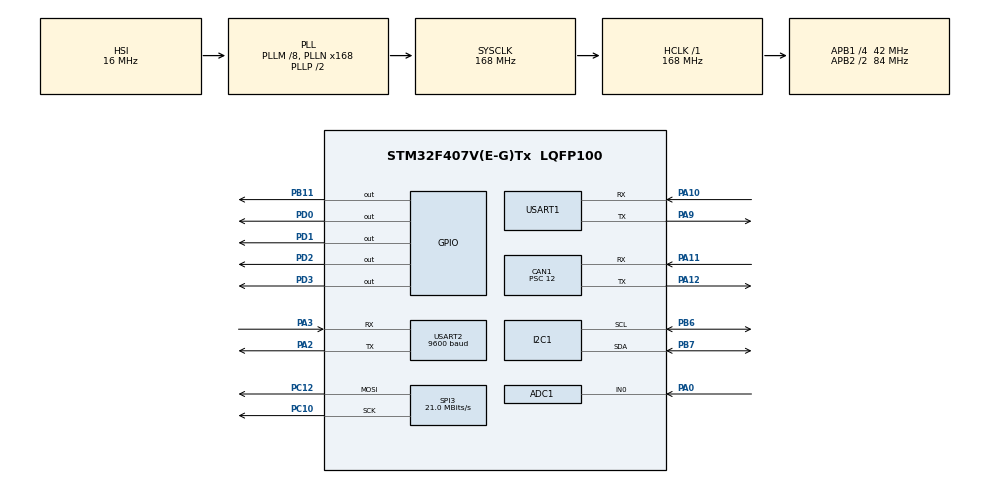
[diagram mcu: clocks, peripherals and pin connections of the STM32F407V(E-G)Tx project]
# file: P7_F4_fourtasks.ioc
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ADC1.Channel-0\#ChannelRegularConversion=ADC_CHANNEL_0
ADC1.NbrOfConversionFlag=1
ADC1.Rank-0\#ChannelRegularConversion=1
ADC1.SamplingTime-0\#ChannelRegularConversion=ADC_SAMPLETIME_3CYCLES
ADC1.master=1
CAN1.BS1=CAN_BS1_6TQ
CAN1.BS2=CAN_BS2_2TQ
CAN1.CalculateBaudRate=388888
CAN1.CalculateTimeBit=2571
CAN1.CalculateTimeQuantum=285.7142857142857
CAN1.Mode=CAN_MODE_NORMAL
CAN1.NART=ENABLE
CAN1.Prescaler=12
FREERTOS.Queues01=sensorqueue,5,sensordata_t*,0,Dynamic,NULL,NULL;displayqueue,5,sensordata_t*,0,Dynamic,NULL,NULL;commuqueue,5,sensordata_t*,0,Dynamic,NULL,NULL
FREERTOS.Tasks01=sensortask,40,256,startsensortask,As weak,NULL,Dynamic,NULL,NULL;filtertask,24,256,startfiltertask,As external,NULL,Dynamic,NULL,NULL;displaytask,8,2048,startdisplaytask,As external,NULL,Dynamic,NULL,NULL;commutask,16,256,startcommutask,As external,NULL,Dynamic,NULL,NULL
Mcu.Family=STM32F4
Mcu.Name=STM32F407V(E-G)Tx
Mcu.Package=LQFP100
NVIC.CAN1_RX0_IRQn=true\:5\:0\:false\:false\:true\:true\:true\:true\:true
NVIC.PriorityGroup=NVIC_PRIORITYGROUP_4
NVIC.TIM7_IRQn=true\:15\:0\:false\:false\:true\:false\:false\:true\:true
NVIC.TimeBase=TIM7_IRQn
NVIC.TimeBaseIP=TIM7
NVIC.USART2_IRQn=true\:5\:0\:false\:false\:true\:true\:true\:true\:true
PA0-WKUP.Signal=ADCx_IN0
PA10.Mode=Asynchronous
PA10.Signal=USART1_RX
PA11.Mode=CAN_Activate
PA11.Signal=CAN1_RX
PA12.Mode=CAN_Activate
PA12.Signal=CAN1_TX
PA13.Mode=Serial_Wire
PA13.Signal=SYS_JTMS-SWDIO
PA14.Mode=Serial_Wire
PA14.Signal=SYS_JTCK-SWCLK
PA2.Mode=Asynchronous
PA2.Signal=USART2_TX
PA3.Mode=Asynchronous
PA3.Signal=USART2_RX
PA9.Mode=Asynchronous
PA9.Signal=USART1_TX
PB11.Signal=GPIO_Output
PB6.Mode=I2C
PB6.Signal=I2C1_SCL
PB7.Mode=I2C
PB7.Signal=I2C1_SDA
PC10.Mode=TX_Only_Simplex_Unidirect_Master
PC10.Signal=SPI3_SCK
PC12.Mode=TX_Only_Simplex_Unidirect_Master
PC12.Signal=SPI3_MOSI
PD0.Signal=GPIO_Output
PD1.Signal=GPIO_Output
PD2.Signal=GPIO_Output
PD3.Signal=GPIO_Output
PH0-OSC_IN.Mode=HSE-External-Oscillator
PH0-OSC_IN.Signal=RCC_OSC_IN
PH1-OSC_OUT.Mode=HSE-External-Oscillator
PH1-OSC_OUT.Signal=RCC_OSC_OUT
ProjectManager.HeapSize=0x200
ProjectManager.StackSize=0x400
ProjectManager.TargetToolchain=CMake
RCC.48MHZClocksFreq_Value=84000000
RCC.AHBFreq_Value=168000000
RCC.APB1CLKDivider=RCC_HCLK_DIV4
RCC.APB1Freq_Value=42000000
RCC.APB1TimFreq_Value=84000000
RCC.APB2CLKDivider=RCC_HCLK_DIV2
RCC.APB2Freq_Value=84000000
RCC.APB2TimFreq_Value=168000000
RCC.CortexFreq_Value=168000000
RCC.HCLKFreq_Value=168000000
RCC.HSE_VALUE=25000000
RCC.HSI_VALUE=16000000
RCC.LSE_VALUE=32768
RCC.PLLM=8
RCC.PLLN=168
RCC.SYSCLKFreq_VALUE=168000000
RCC.SYSCLKSource=RCC_SYSCLKSOURCE_PLLCLK
RCC.VCOOutputFreq_Value=336000000
SH.ADCx_IN0.0=ADC1_IN0,IN0
SPI3.BaudRatePrescaler=SPI_BAUDRATEPRESCALER_2
SPI3.CLKPolarity=SPI_POLARITY_HIGH
SPI3.CalculateBaudRate=21.0 MBits/s
SPI3.Direction=SPI_DIRECTION_2LINES
SPI3.Mode=SPI_MODE_MASTER
SPI3.VirtualType=VM_MASTER
USART1.VirtualMode=VM_ASYNC
USART2.BaudRate=9600
USART2.Parity=PARITY_EVEN
USART2.VirtualMode=VM_ASYNC
VP_FREERTOS_VS_CMSIS_V2.Mode=CMSIS_V2
VP_SYS_VS_tim7.Mode=TIM7
board=custom

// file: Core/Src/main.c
/* USER CODE BEGIN Header */
/**
  ******************************************************************************
  * @file           : main.c
  * @brief          : Main program body
  ******************************************************************************
  * @attention
  *
  * Copyright (c) 2026 STMicroelectronics.
  * All rights reserved.
  *
  * This software is licensed under terms that can be found in the LICENSE file
  * in the root directory of this software component.
  * If no LICENSE file comes with this software, it is provided AS-IS.
  *
  ******************************************************************************
  */
/* USER CODE END Header */
#include "main.h"
#include "cmsis_os.h"
#include "adc.h"
#include "can.h"
#include "i2c.h"
#include "spi.h"
#include "usart.h"
#include "gpio.h"

/* USER CODE BEGIN Includes */
#include "drivers/ina219.h"
#include "drivers/mpu6050.h"
#include "drivers/st7789.h"
#include "drivers/can.h"
/* USER CODE END Includes */

void SystemClock_Config(void);
void MX_FREERTOS_Init(void);

int main(void)
{

  /* MCU Configuration--------------------------------------------------------*/

  /* Reset of all peripherals, Initializes the Flash interface and the Systick. */
  HAL_Init();

  /* Configure the system clock */
  SystemClock_Config();

  /* Initialize all configured peripherals */
  MX_GPIO_Init();
  MX_USART1_UART_Init();
  MX_I2C1_Init();
  MX_ADC1_Init();
  MX_SPI3_Init();
  MX_CAN1_Init();
  MX_USART2_UART_Init();
  /* USER CODE BEGIN 2 */
  //ST7789_Init();
  ST7789_Fill_Color(BLACK);
  mpu6050_init();

  ina219_init();
  can_filter_init();

  /* USER CODE END 2 */

  /* Init scheduler */
  osKernelInitialize();  /* Call init function for freertos objects (in cmsis_os2.c) */
  MX_FREERTOS_Init();

  /* Start scheduler */
  osKernelStart();

  /* We should never get here as control is now taken by the scheduler */

  /* Infinite loop */
  while (1)
  {

  }
}

void SystemClock_Config(void)
{
  RCC_OscInitTypeDef RCC_OscInitStruct = {0};
  RCC_ClkInitTypeDef RCC_ClkInitStruct = {0};

  /** Configure the main internal regulator output voltage
  */
  __HAL_RCC_PWR_CLK_ENABLE();
  __HAL_PWR_VOLTAGESCALING_CONFIG(PWR_REGULATOR_VOLTAGE_SCALE1);

  /** Initializes the RCC Oscillators according to the specified parameters
  * in the RCC_OscInitTypeDef structure.
  */
  RCC_OscInitStruct.OscillatorType = RCC_OSCILLATORTYPE_HSI;
  RCC_OscInitStruct.HSIState = RCC_HSI_ON;
  RCC_OscInitStruct.HSICalibrationValue = RCC_HSICALIBRATION_DEFAULT;
  RCC_OscInitStruct.PLL.PLLState = RCC_PLL_ON;
  RCC_OscInitStruct.PLL.PLLSource = RCC_PLLSOURCE_HSI;
  RCC_OscInitStruct.PLL.PLLM = 8;
  RCC_OscInitStruct.PLL.PLLN = 168;
  RCC_OscInitStruct.PLL.PLLP = RCC_PLLP_DIV2;
  RCC_OscInitStruct.PLL.PLLQ = 4;
  if (HAL_RCC_OscConfig(&RCC_OscInitStruct) != HAL_OK)
  {
    Error_Handler();
  }

  /** Initializes the CPU, AHB and APB buses clocks
  */
  RCC_ClkInitStruct.ClockType = RCC_CLOCKTYPE_HCLK|RCC_CLOCKTYPE_SYSCLK
                              |RCC_CLOCKTYPE_PCLK1|RCC_CLOCKTYPE_PCLK2;
  RCC_ClkInitStruct.SYSCLKSource = RCC_SYSCLKSOURCE_PLLCLK;
  RCC_ClkInitStruct.AHBCLKDivider = RCC_SYSCLK_DIV1;
  RCC_ClkInitStruct.APB1CLKDivider = RCC_HCLK_DIV4;
  RCC_ClkInitStruct.APB2CLKDivider = RCC_HCLK_DIV2;

  if (HAL_RCC_ClockConfig(&RCC_ClkInitStruct, FLASH_LATENCY_5) != HAL_OK)
  {
    Error_Handler();
  }
}

void HAL_TIM_PeriodElapsedCallback(TIM_HandleTypeDef *htim)
{
  if (htim->Instance == TIM7)
  {
    HAL_IncTick();
  }
}

void Error_Handler(void)
{
  __disable_irq();
  while (1)
  {
  }
}

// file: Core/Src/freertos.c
/* USER CODE BEGIN Header */
/**
  ******************************************************************************
  * File Name          : freertos.c
  * Description        : Code for freertos applications
  ******************************************************************************
  * @attention
  *
  * Copyright (c) 2026 STMicroelectronics.
  * All rights reserved.
  *
  * This software is licensed under terms that can be found in the LICENSE file
  * in the root directory of this software component.
  * If no LICENSE file comes with this software, it is provided AS-IS.
  *
  ******************************************************************************
  */
/* USER CODE END Header */

#include "FreeRTOS.h"
#include "task.h"
#include "main.h"
#include "cmsis_os.h"

/* USER CODE BEGIN Includes */
#include <stdio.h>
#include <stdlib.h>
#include <string.h>

#include "adc.h"
#include "i2c.h"
#include "usart.h"
#include "drivers/ds18b20.h"
#include "drivers/ina219.h"
#include "drivers/mpu6050.h"
#include "drivers/st7789.h"
#include "drivers/fonts.h"
#include "drivers/can.h"
#include "drivers/modbus.h"
/* USER CODE END Includes */

/* Definitions for sensortask */
osThreadId_t sensortaskHandle;
const osThreadAttr_t sensortask_attributes = {
  .name = "sensortask",
  .stack_size = 256 * 4,
  .priority = (osPriority_t) osPriorityHigh,
};
/* Definitions for filtertask */
osThreadId_t filtertaskHandle;
const osThreadAttr_t filtertask_attributes = {
  .name = "filtertask",
  .stack_size = 256 * 4,
  .priority = (osPriority_t) osPriorityNormal,
};
/* Definitions for displaytask */
osThreadId_t displaytaskHandle;
const osThreadAttr_t displaytask_attributes = {
  .name = "displaytask",
  .stack_size = 2048 * 4,
  .priority = (osPriority_t) osPriorityLow,
};
/* Definitions for commutask */
osThreadId_t commutaskHandle;
const osThreadAttr_t commutask_attributes = {
  .name = "commutask",
  .stack_size = 256 * 4,
  .priority = (osPriority_t) osPriorityBelowNormal,
};
/* Definitions for sensorqueue */
osMessageQueueId_t sensorqueueHandle;
const osMessageQueueAttr_t sensorqueue_attributes = {
  .name = "sensorqueue"
};
/* Definitions for displayqueue */
osMessageQueueId_t displayqueueHandle;
const osMessageQueueAttr_t displayqueue_attributes = {
  .name = "displayqueue"
};
/* Definitions for commuqueue */
osMessageQueueId_t commuqueueHandle;
const osMessageQueueAttr_t commuqueue_attributes = {
  .name = "commuqueue"
};

void startsensortask(void *argument);
extern void startfiltertask(void *argument);
extern void startdisplaytask(void *argument);
extern void startcommutask(void *argument);

void MX_FREERTOS_Init(void); /* (MISRA C 2004 rule 8.1) */

void MX_FREERTOS_Init(void) {

  /* Create the queue(s) */
  /* creation of sensorqueue */
  sensorqueueHandle = osMessageQueueNew (5, sizeof(sensordata_t*), &sensorqueue_attributes);

  /* creation of displayqueue */
  displayqueueHandle = osMessageQueueNew (5, sizeof(sensordata_t*), &displayqueue_attributes);

  /* creation of commuqueue */
  commuqueueHandle = osMessageQueueNew (5, sizeof(sensordata_t*), &commuqueue_attributes);

  /* Create the thread(s) */
  /* creation of sensortask */
  sensortaskHandle = osThreadNew(startsensortask, NULL, &sensortask_attributes);

  /* creation of filtertask */
  filtertaskHandle = osThreadNew(startfiltertask, NULL, &filtertask_attributes);

  /* creation of displaytask */
  displaytaskHandle = osThreadNew(startdisplaytask, NULL, &displaytask_attributes);

  /* creation of commutask */
  commutaskHandle = osThreadNew(startcommutask, NULL, &commutask_attributes);

}

__weak void startsensortask(void *argument)
{
  for(;;)
  {
    osDelay(1);
  }
}
